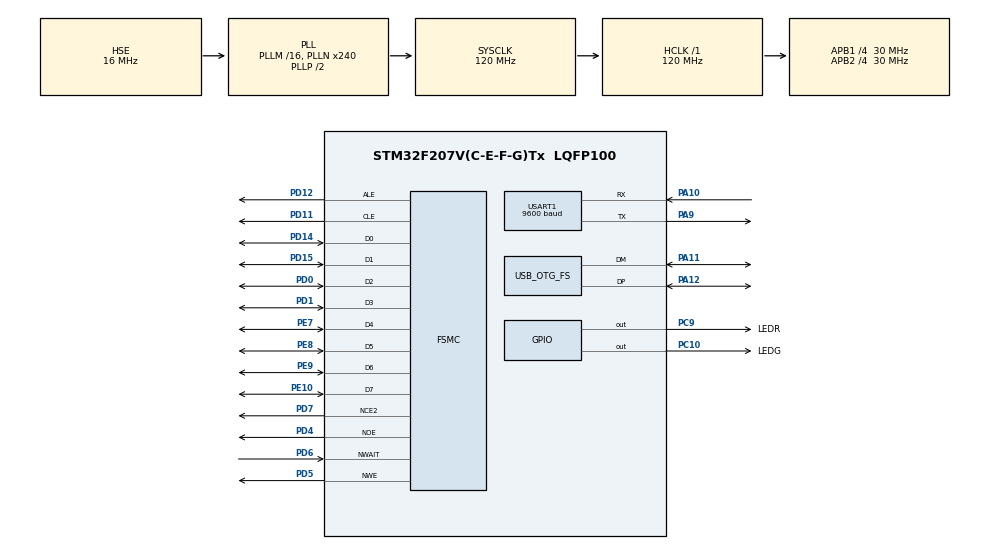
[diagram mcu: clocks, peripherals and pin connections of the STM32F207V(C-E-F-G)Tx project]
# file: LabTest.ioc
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FSMC.NandBlockNbr1=1024
FSMC.NandBlockSize1=64
FSMC.NandPageSize1=2048
FSMC.NandPlaneNbr1=1
FSMC.NandPlaneSize1=1024
FSMC.NandSpareAreaSize1=64
Mcu.Family=STM32F2
Mcu.Name=STM32F207V(C-E-F-G)Tx
Mcu.Package=LQFP100
NVIC.OTG_FS_IRQn=true\:0\:0\:false\:false\:true\:false\:true
NVIC.PriorityGroup=NVIC_PRIORITYGROUP_4
NVIC.USART1_IRQn=true\:0\:0\:false\:false\:true\:true\:true
PA10.Mode=Multiprocessor_communication
PA10.Signal=USART1_RX
PA11.Mode=Device_Only
PA11.Signal=USB_OTG_FS_DM
PA12.Mode=Device_Only
PA12.Signal=USB_OTG_FS_DP
PA13.Mode=Serial_Wire
PA13.Signal=SYS_JTMS-SWDIO
PA14.Mode=Serial_Wire
PA14.Signal=SYS_JTCK-SWCLK
PA9.Mode=Multiprocessor_communication
PA9.Signal=USART1_TX
PC10.GPIO_Label=LEDG
PC10.Signal=GPIO_Output
PC9.GPIO_Label=LEDR
PC9.Signal=GPIO_Output
PD0.Mode=8b-dmux1
PD0.Signal=FSMC_D2
PD1.Mode=8b-dmux1
PD1.Signal=FSMC_D3
PD11.Mode=8b-dmux1
PD11.Signal=FSMC_CLE
PD12.Mode=8b-dmux1
PD12.Signal=FSMC_ALE
PD14.Mode=8b-dmux1
PD14.Signal=FSMC_D0
PD15.Mode=8b-dmux1
PD15.Signal=FSMC_D1
PD4.Mode=8b-dmux1
PD4.Signal=FSMC_NOE
PD5.Mode=8b-dmux1
PD5.Signal=FSMC_NWE
PD6.Mode=Wait1
PD6.Signal=FSMC_NWAIT
PD7.Mode=NandChipSelect2_1
PD7.Signal=FSMC_NCE2
PE10.Mode=8b-dmux1
PE10.Signal=FSMC_D7
PE7.Mode=8b-dmux1
PE7.Signal=FSMC_D4
PE8.Mode=8b-dmux1
PE8.Signal=FSMC_D5
PE9.Mode=8b-dmux1
PE9.Signal=FSMC_D6
PH0-OSC_IN.Mode=HSE-External-Oscillator
PH0-OSC_IN.Signal=RCC_OSC_IN
PH1-OSC_OUT.Mode=HSE-External-Oscillator
PH1-OSC_OUT.Signal=RCC_OSC_OUT
ProjectManager.HeapSize=0x200
ProjectManager.StackSize=0x400
ProjectManager.TargetToolchain=Makefile
RCC.48MHZClocksFreq_Value=48000000
RCC.AHBFreq_Value=120000000
RCC.APB1CLKDivider=RCC_HCLK_DIV4
RCC.APB1Freq_Value=30000000
RCC.APB1TimFreq_Value=60000000
RCC.APB2CLKDivider=RCC_HCLK_DIV4
RCC.APB2Freq_Value=30000000
RCC.APB2TimFreq_Value=60000000
RCC.CortexFreq_Value=120000000
RCC.HCLKFreq_Value=120000000
RCC.HSE_VALUE=16000000
RCC.HSI_VALUE=16000000
RCC.LSE_VALUE=32768
RCC.PLLN=240
RCC.PLLQ=5
RCC.PLLSourceVirtual=RCC_PLLSOURCE_HSE
RCC.SYSCLKFreq_VALUE=120000000
RCC.SYSCLKSource=RCC_SYSCLKSOURCE_PLLCLK
RCC.VCOOutputFreq_Value=240000000
USART1.BaudRate=9600
USART1.VirtualMode=VM_ASYNC
USB_DEVICE.CLASS_NAME_FS=MSC
USB_DEVICE.VirtualMode-MSC_FS=Msc
USB_DEVICE.VirtualModeFS=Msc_FS
USB_OTG_FS.VirtualMode=Device_Only
VP_USB_DEVICE_VS_USB_DEVICE_MSC_FS.Mode=MSC_FS
board=custom

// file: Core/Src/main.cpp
/* USER CODE BEGIN Header */
/**
  ******************************************************************************
  * @file           : main.c
  * @brief          : Main program body
  ******************************************************************************
  * @attention
  *
  * <h2><center>&copy; Copyright (c) 2019 STMicroelectronics.
  * All rights reserved.</center></h2>
  *
  * This software component is licensed by ST under Ultimate Liberty license
  * SLA0044, the "License"; You may not use this file except in compliance with
  * the License. You may obtain a copy of the License at:
  *                             www.st.com/SLA0044
  *
  ******************************************************************************
  */
/* USER CODE END Header */

#include "main.h"
#include "usart.h"
#include "usb_device.h"
#include "gpio.h"
#include "fsmc.h"

/* USER CODE BEGIN Includes */
#include "uart_command_manager.h"
#include "RegistersTemplate.hpp"
#include "blinker.h"
/* USER CODE END Includes */

/* USER CODE BEGIN PM */
void blinkHandlerFn(const FWT::tuple<int> &params) {
    Blinker::getInstance().setBlink(FWT::tuple_at<0>::get(params) ? true : false);
};

void helpHandlerFn(const FWT::tuple<void> &params) {
  static const char help_buf[] = "Commands: \r\n\
    blink <0|1> - blinker on/off\r\n\
    help - this memo\r\n";

  HAL_UART_Transmit(&huart1, (uint8_t *)help_buf, strlen(help_buf), 1000);
};
/* USER CODE END PM */

/* USER CODE BEGIN PV */
static unsigned char buff[64];
static unsigned char tx_buff[64];

auto blinkHandler = MakeCommandHandler<typeof(blinkHandlerFn), int>("blink", blinkHandlerFn);
auto helpHandler = MakeCommandHandler<typeof(helpHandlerFn), void>("help", helpHandlerFn);

ICmdProcessor *handler_ptrs[] = {
  &blinkHandler,
  &helpHandler
};

UARTCommandManager Mgr(handler_ptrs, sizeof(handler_ptrs) / sizeof(ICmdProcessor *));
/* USER CODE END PV */

void SystemClock_Config(void);

/* USER CODE BEGIN 0 */
void HAL_UART_RxCpltCallback(UART_HandleTypeDef *huart)
{
  tx_buff[0] = buff[0];
  if (buff[0] == '\r')
  {
    tx_buff[1] = '\n';
    HAL_UART_Transmit(huart, tx_buff, 2, 5);
  } else {
    HAL_UART_Transmit(huart, tx_buff, 1, 5);
  }

  HAL_UART_Receive_IT(huart, buff, 1);

  Mgr.onData((char *)buff, 1);
}

/* USER CODE END 0 */

int main(void)
{
  /* USER CODE BEGIN 1 */

  //auto elem = FWT::get<2, int, int, int, double>(tup);

  /* USER CODE END 1 */

  /* MCU Configuration--------------------------------------------------------*/

  /* Reset of all peripherals, Initializes the Flash interface and the Systick. */
  HAL_Init();

  /* Configure the system clock */
  SystemClock_Config();

  /* Initialize all configured peripherals */
  //MX_GPIO_Init();
  __HAL_RCC_GPIOE_CLK_ENABLE();
  __HAL_RCC_GPIOD_CLK_ENABLE();
  __HAL_RCC_GPIOC_CLK_ENABLE();
  __HAL_RCC_GPIOA_CLK_ENABLE();

  Blinker::getInstance().initBlinker();

  MX_USB_DEVICE_Init();
  MX_FSMC_Init();
  MX_USART1_UART_Init();

  /* Infinite loop */
  /* USER CODE BEGIN WHILE */
  NAND_IDTypeDef nt;
  HAL_NAND_Read_ID(&hnand1, &nt);
  sprintf((char *)buff, "Device id = 0x%02x\n\rfourth id = 0x%02x\n\r", nt.Device_Id, nt.Fourth_Id);
  HAL_UART_Transmit(&huart1, buff, strlen((const char *)buff), 1000);

  HAL_UART_Receive_IT(&huart1, buff, 1);

  Mgr.ShowPrompt();

  while (1)
  {
    /* USER CODE END WHILE */

    /* USER CODE BEGIN 3 */
	  Blinker::getInstance().processBlinkEvent();
	  HAL_Delay(500);
  }
  /* USER CODE END 3 */
}

void SystemClock_Config(void)
{
  RCC_OscInitTypeDef RCC_OscInitStruct = {0};
  RCC_ClkInitTypeDef RCC_ClkInitStruct = {0};

  /** Initializes the CPU, AHB and APB busses clocks
  */
  RCC_OscInitStruct.OscillatorType = RCC_OSCILLATORTYPE_HSE;
  RCC_OscInitStruct.HSEState = RCC_HSE_ON;
  RCC_OscInitStruct.PLL.PLLState = RCC_PLL_ON;
  RCC_OscInitStruct.PLL.PLLSource = RCC_PLLSOURCE_HSE;
  RCC_OscInitStruct.PLL.PLLM = 16;
  RCC_OscInitStruct.PLL.PLLN = 240;
  RCC_OscInitStruct.PLL.PLLP = RCC_PLLP_DIV2;
  RCC_OscInitStruct.PLL.PLLQ = 5;
  if (HAL_RCC_OscConfig(&RCC_OscInitStruct) != HAL_OK)
  {
    Error_Handler();
  }
  /** Initializes the CPU, AHB and APB busses clocks
  */
  RCC_ClkInitStruct.ClockType = RCC_CLOCKTYPE_HCLK|RCC_CLOCKTYPE_SYSCLK
                              |RCC_CLOCKTYPE_PCLK1|RCC_CLOCKTYPE_PCLK2;
  RCC_ClkInitStruct.SYSCLKSource = RCC_SYSCLKSOURCE_PLLCLK;
  RCC_ClkInitStruct.AHBCLKDivider = RCC_SYSCLK_DIV1;
  RCC_ClkInitStruct.APB1CLKDivider = RCC_HCLK_DIV4;
  RCC_ClkInitStruct.APB2CLKDivider = RCC_HCLK_DIV4;

  if (HAL_RCC_ClockConfig(&RCC_ClkInitStruct, FLASH_LATENCY_3) != HAL_OK)
  {
    Error_Handler();
  }
}

void Error_Handler(void)
{
}

/************************ (C) COPYRIGHT STMicroelectronics *****END OF FILE****/
